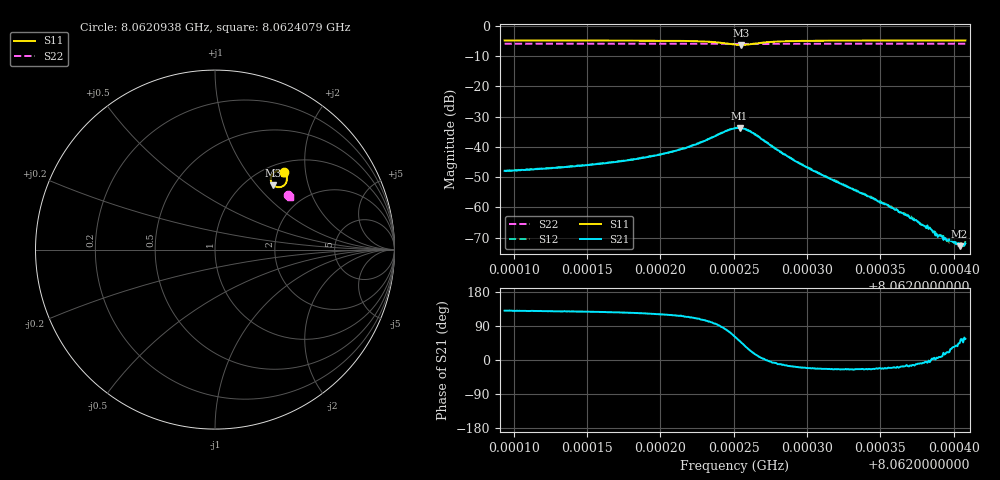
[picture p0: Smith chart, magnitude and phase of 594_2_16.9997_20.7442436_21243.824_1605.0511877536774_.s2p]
#  HZ  S  RI  R  50.00
! Rohde & Schwarz Vector Network Analyzer
! Rohde-Schwarz,ZNB20-2Port,1311601062101988,3.16
! Created: UTC 3/20/2024, 11:18:45 PM
! freq[Hz]  re:S11  im:S11  re:S21  im:S21  re:S12  im:S12  re:S22  im:S22
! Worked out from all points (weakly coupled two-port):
!   401 points, 8.0620938 GHz to 8.0624079 GHz, reference 50 ohm
!   highest |S21| = -33.70 dB at 8.062254 GHz (marker M1); lowest = -72.8 dB at 8.062404 GHz (marker M2)
!   lowest |S11| = -6.3 dB at 8.0622548 GHz (marker M3), VSWR 2.88, Z = 65.5 + j61.5 ohm
!   |S11| at or under -10 dB: nowhere
!   |S22| runs from -5.9 to -5.9 dB; largest |S21 - S12| = 0.0013
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8.06209376e9  0.3835 0.4297  -0.00259 0.00306  -0.0024 0.00326  0.4063 0.3063
8.06214638e9  0.389 0.4238  -0.00299 0.00386  -0.00279 0.0041  0.4084 0.3034
8.06217309e9  0.3926 0.4189  -0.00335 0.00473  -0.00311 0.00497  0.4093 0.3019
8.062199e9  0.3971 0.4105  -0.00384 0.00634  -0.00347 0.00661  0.4101 0.3001
8.06221785e9  0.4002 0.3982  -0.00392 0.00892  -0.00348 0.00918  0.4108 0.2987
8.06223827e9  0.392 0.3664  -0.00117 0.0154  -0.000137 0.0156  0.4107 0.2964
8.06225084e9  0.3452 0.3487  0.00967 0.0179  0.0107 0.0175  0.4088 0.2957
8.06225398e9  0.3289 0.3563  0.0132 0.0159  0.0141 0.0151  0.4083 0.2961
8.06225477e9  0.3252 0.3591  0.0138 0.0151  0.0148 0.0143  0.4082 0.2962
8.06226184e9  0.3103 0.3942  0.0163 0.00684  0.0168 0.00609  0.4082 0.2976
8.06227283e9  0.3279 0.4285  0.0117 -0.00021  0.0117 -0.000865  0.4099 0.2985
8.06228461e9  0.3472 0.4371  0.00739 -0.0018  0.00711 -0.00223  0.4112 0.298
8.06230346e9  0.3636 0.4372  0.00385 -0.00153  0.00382 -0.0018  0.4126 0.2968
8.06235608e9  0.3802 0.4309  0.000969 -0.000366  0.000912 -0.000456  0.415 0.2938
8.062382e9  0.384 0.4285  0.0005 -6.33e-05  0.000478 -6.86e-05  0.416 0.2924
8.06238357e9  0.3843 0.4285  0.000457 -4.42e-05  0.000462 -6.5e-05  0.416 0.2924
8.06238828e9  0.3849 0.4279  0.000364 3.84e-05  0.000363 -2.45e-05  0.4162 0.2921
8.062393e9  0.3854 0.4276  0.000275 9.5e-05  0.000334 2.08e-05  0.4164 0.2918
8.06239614e9  0.3857 0.4273  0.000266 9.71e-05  0.00027 6.85e-05  0.4163 0.2915
8.06240399e9  0.3866 0.4268  0.000163 0.00016  0.000193 0.000166  0.4167 0.2912
8.06240556e9  0.3869 0.4265  0.00013 0.00019  0.00018 0.000196  0.4166 0.291
8.06240792e9  0.387 0.4264  0.000142 0.00021  0.000136 0.000245  0.4168 0.2911
